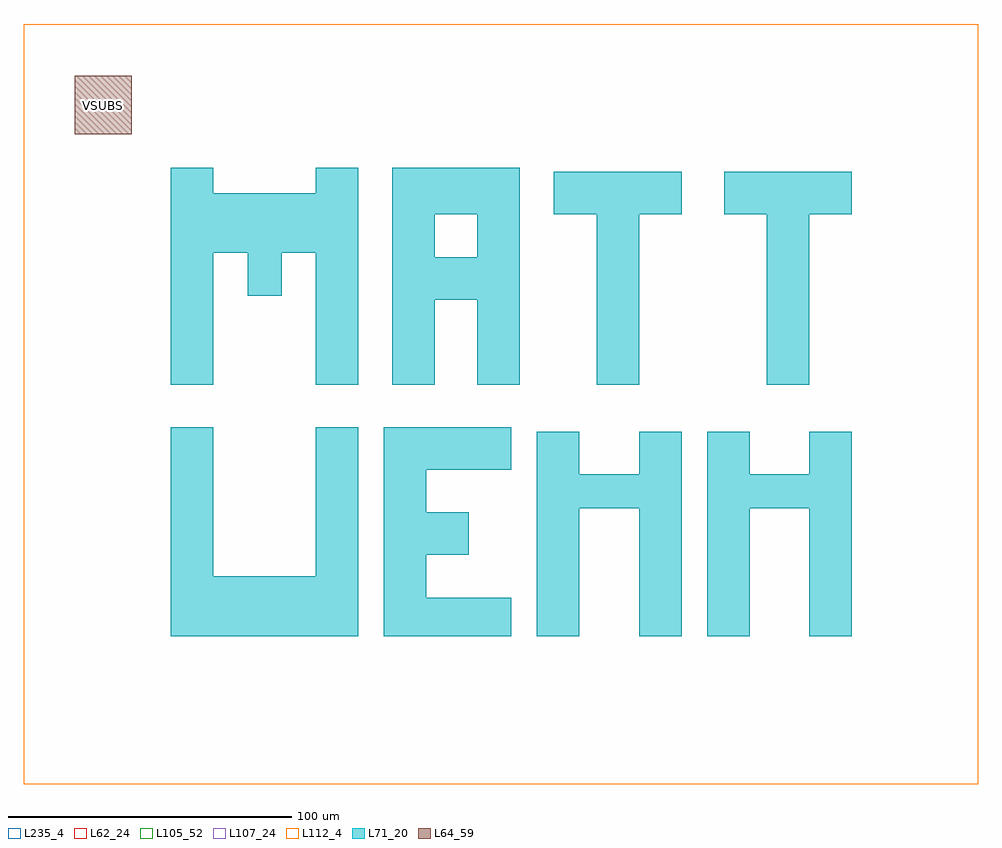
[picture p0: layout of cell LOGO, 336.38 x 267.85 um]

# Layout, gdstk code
import gdstk
lib = gdstk.Library(unit=1e-6, precision=1e-09)
def R(c, l, rs):  # rectangles x0, y0, x1, y1
    for r in rs: c.add(gdstk.rectangle(r[:2], r[2:], *l))
L62_24 = (62, 24)
L64_59 = (64, 59)
L71_20 = (71, 20)
L105_52 = (105, 52)
L107_24 = (107, 24)
L112_4 = (112, 4)
L235_4 = (235, 4)

logo = lib.new_cell('LOGO')
R(logo, L62_24, [(488.15,-1670.72,824.53,-1402.87)])
R(logo, L64_59, [(506.19,-1441.81,526.24,-1421.19)])
R(logo, L71_20, [(540,-1618.56,606,-1597.56), (615,-1618.56,660,-1605), (669,-1618.56,684,-1573.56), (705,-1618.56,720,-1573.56), (729,-1618.56,744,-1573.56), (765,-1618.56,780,-1573.56), (615,-1605,630,-1590), (540,-1597.56,555,-1545), (591,-1597.56,606,-1545), (615,-1590,645,-1575), (615,-1575,630,-1560), (669,-1573.56,720,-1561.56), (729,-1573.56,780,-1561.56), (669,-1561.56,684,-1546.56), (705,-1561.56,720,-1546.56), (729,-1561.56,744,-1546.56), (765,-1561.56,780,-1546.56), (615,-1560,660,-1545), (540,-1530,555,-1483.56), (591,-1530,606,-1483.56), (618,-1530,633,-1500), (648,-1530,663,-1500), (690,-1530,705,-1470), (750,-1530,765,-1470), (618,-1500,663,-1485), (567,-1498.56,579,-1483.56), (618,-1485,633,-1470), (648,-1485,663,-1470), (540,-1483.56,606,-1462.56), (618,-1470,663,-1453.56), (675,-1470,720,-1455), (735,-1470,780,-1455), (540,-1462.56,555,-1453.56), (591,-1462.56,606,-1453.56)])
R(logo, L105_52, [(488.15,-1670.72,824.53,-1402.87)])
R(logo, L107_24, [(488.15,-1670.72,824.53,-1402.87)])
R(logo, L112_4, [(488.15,-1670.72,824.53,-1402.87)])
R(logo, L235_4, [(488.15,-1670.72,824.53,-1402.87)])
logo.add(gdstk.Label('VSUBS', (516.215,-1431.5), layer=64, texttype=59))

lib.write_gds('LOGO.gds')
